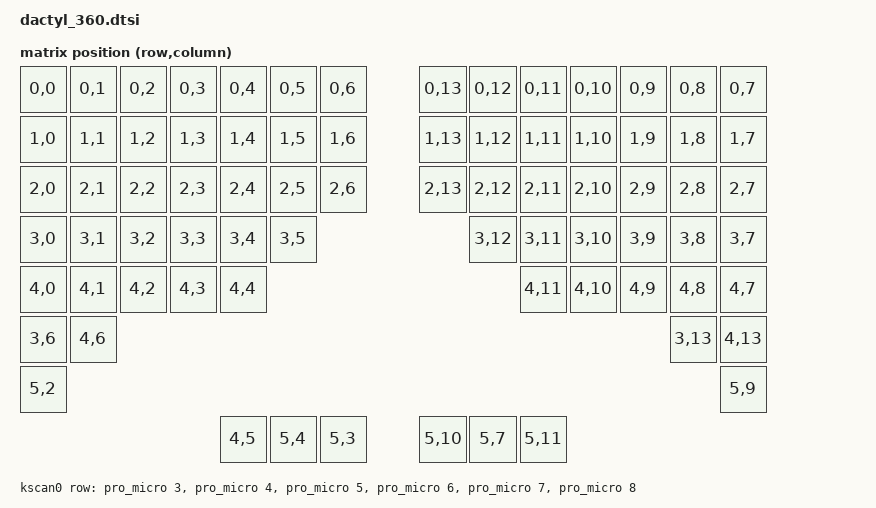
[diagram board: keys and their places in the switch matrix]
#include <dt-bindings/zmk/matrix_transform.h>

/ {
    chosen {
        zmk,kscan = &kscan0;
        zmk,matrix_transform = &default_transform;
    };

    default_transform: keymap_transform_0 {
        compatible = "zmk,matrix-transform";
        columns = <14>;
        rows = <12>;

//              &kp EQUAL &kp N1    &kp N2   &kp N3   &kp N4     &kp N5 &tog 1                                                           &mo 3 &kp N6 &kp N7 &kp N8    &kp N9   &kp N0   &kp MINUS
//              &kp TAB   &kp Q     &kp W    &kp E    &kp R      &kp T  &none                                                            &none &kp Y  &kp U  &kp I     &kp O    &kp P    &kp BSLH
//              &kp ESC   &kp A     &kp S    &kp D    &kp F      &kp G  &none           &kp LCTRL &kp LALT &kp LGUI  &kp RCTRL           &none &kp H  &kp J  &kp K     &kp L    &kp SEMI &kp SQT
//              &kp LSHFT &kp Z     &kp X    &kp C    &kp V      &kp B                            &kp HOME &kp PG_UP                           &kp N  &kp M  &kp COMMA &kp DOT  &kp FSLH &kp RSHFT
//              &mo 2     &kp GRAVE &kp CAPS &kp LEFT &kp RIGHT                &kp BSPC &kp DEL   &kp END  &kp PG_DN &kp ENTER &kp SPACE              &kp UP &kp DOWN  &kp LBKT &kp RBKT &mo 2
//TODO BOTTOM RIGHT CLUSTER IS WRONG

        map = <
RC(0,0) RC(0,1) RC(0,2) RC(0,3) RC(0,4) RC(0,5) RC(0,6)                                               RC(0,13) RC(0,12) RC(0,11) RC(0,10) RC(0,9) RC(0,8) RC(0,7)
RC(1,0) RC(1,1) RC(1,2) RC(1,3) RC(1,4) RC(1,5) RC(1,6)                                               RC(1,13) RC(1,12) RC(1,11) RC(1,10) RC(1,9) RC(1,8) RC(1,7)
RC(2,0) RC(2,1) RC(2,2) RC(2,3) RC(2,4) RC(2,5) RC(2,6)                                               RC(2,13) RC(2,12) RC(2,11) RC(2,10) RC(2,9) RC(2,8) RC(2,7)
RC(3,0) RC(3,1) RC(3,2) RC(3,3) RC(3,4) RC(3,5)                                                                RC(3,12) RC(3,11) RC(3,10) RC(3,9) RC(3,8) RC(3,7)
RC(4,0) RC(4,1) RC(4,2) RC(4,3) RC(4,4)                                                                                 RC(4,11) RC(4,10) RC(4,9) RC(4,8) RC(4,7)
                                                                   RC(3,6) RC(4,6)      RC(3,13) RC(4,13)
                                                                           RC(5,2)      RC(5,9) 
                                                           RC(4,5) RC(5,4) RC(5,3)      RC(5,10) RC(5,7) RC(5,11)
        >;
    };

    kscan0: kscan {
        compatible = "zmk,kscan-gpio-matrix";
        label = "KSCAN";

        diode-direction = "col2row";
        row-gpios
            = <&pro_micro 3 (GPIO_ACTIVE_HIGH | GPIO_PULL_DOWN)>
            , <&pro_micro 4 (GPIO_ACTIVE_HIGH | GPIO_PULL_DOWN)>
            , <&pro_micro 5 (GPIO_ACTIVE_HIGH | GPIO_PULL_DOWN)>
            , <&pro_micro 6 (GPIO_ACTIVE_HIGH | GPIO_PULL_DOWN)>
            , <&pro_micro 7 (GPIO_ACTIVE_HIGH | GPIO_PULL_DOWN)>
            , <&pro_micro 8 (GPIO_ACTIVE_HIGH | GPIO_PULL_DOWN)>
            ;

    };
};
